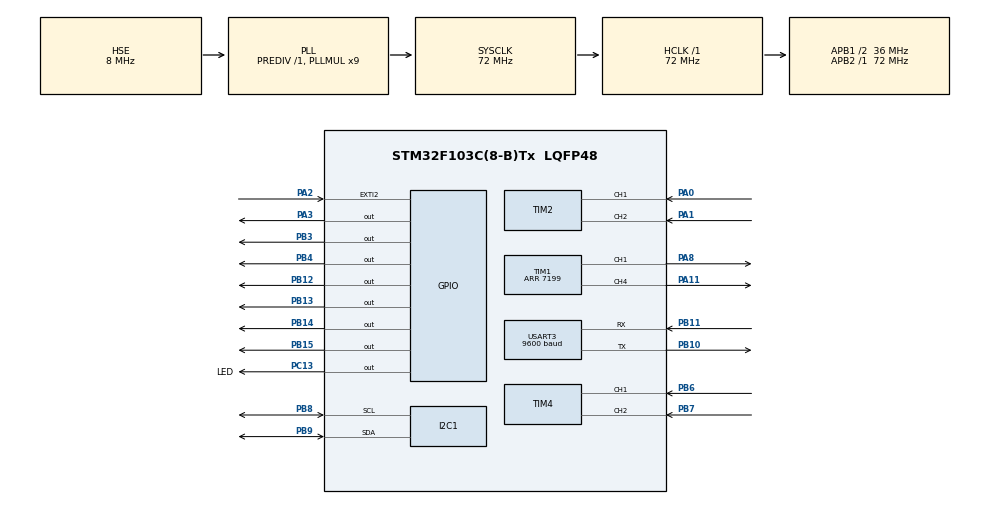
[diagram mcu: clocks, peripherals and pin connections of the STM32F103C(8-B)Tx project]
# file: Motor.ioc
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Mcu.Family=STM32F1
Mcu.Name=STM32F103C(8-B)Tx
Mcu.Package=LQFP48
NVIC.EXTI2_IRQn=true\:0\:0\:false\:false\:true\:true\:true\:true
NVIC.PriorityGroup=NVIC_PRIORITYGROUP_4
NVIC.USART3_IRQn=true\:0\:0\:false\:false\:true\:true\:true\:true
PA0-WKUP.Signal=S_TIM2_CH1_ETR
PA1.Signal=S_TIM2_CH2
PA11.Signal=S_TIM1_CH4
PA13.Mode=Serial_Wire
PA13.Signal=SYS_JTMS-SWDIO
PA14.Mode=Serial_Wire
PA14.Signal=SYS_JTCK-SWCLK
PA2.GPIO_ModeDefaultEXTI=GPIO_MODE_IT_RISING_FALLING
PA2.Signal=GPXTI2
PA3.GPIO_Speed=GPIO_SPEED_FREQ_HIGH
PA3.Signal=GPIO_Output
PA8.Signal=S_TIM1_CH1
PB10.Mode=Asynchronous
PB10.Signal=USART3_TX
PB11.Mode=Asynchronous
PB11.Signal=USART3_RX
PB12.Signal=GPIO_Output
PB13.Signal=GPIO_Output
PB14.Signal=GPIO_Output
PB15.Signal=GPIO_Output
PB3.Signal=GPIO_Output
PB4.Signal=GPIO_Output
PB6.Signal=S_TIM4_CH1
PB7.Signal=S_TIM4_CH2
PB8.Mode=I2C
PB8.Signal=I2C1_SCL
PB9.Mode=I2C
PB9.Signal=I2C1_SDA
PC13-TAMPER-RTC.GPIO_Label=LED
PC13-TAMPER-RTC.Signal=GPIO_Output
PC14-OSC32_IN.Mode=LSE-External-Oscillator
PC14-OSC32_IN.Signal=RCC_OSC32_IN
PC15-OSC32_OUT.Mode=LSE-External-Oscillator
PC15-OSC32_OUT.Signal=RCC_OSC32_OUT
PD0-OSC_IN.Mode=HSE-External-Oscillator
PD0-OSC_IN.Signal=RCC_OSC_IN
PD1-OSC_OUT.Mode=HSE-External-Oscillator
PD1-OSC_OUT.Signal=RCC_OSC_OUT
ProjectManager.HeapSize=0x200
ProjectManager.StackSize=0x400
ProjectManager.TargetToolchain=STM32CubeIDE
RCC.AHBFreq_Value=72000000
RCC.APB1CLKDivider=RCC_HCLK_DIV2
RCC.APB1Freq_Value=36000000
RCC.APB1TimFreq_Value=72000000
RCC.APB2Freq_Value=72000000
RCC.APB2TimFreq_Value=72000000
RCC.HCLKFreq_Value=72000000
RCC.PLLMUL=RCC_PLL_MUL9
RCC.PLLSourceVirtual=RCC_PLLSOURCE_HSE
RCC.SYSCLKFreq_VALUE=72000000
RCC.SYSCLKSource=RCC_SYSCLKSOURCE_PLLCLK
RCC.USBFreq_Value=72000000
SH.S_TIM1_CH1.0=TIM1_CH1,PWM Generation1 CH1
SH.S_TIM1_CH4.0=TIM1_CH4,PWM Generation4 CH4
SH.S_TIM2_CH1_ETR.0=TIM2_CH1,Encoder_Interface
SH.S_TIM2_CH2.0=TIM2_CH2,Encoder_Interface
SH.S_TIM4_CH1.0=TIM4_CH1,Encoder_Interface
SH.S_TIM4_CH2.0=TIM4_CH2,Encoder_Interface
TIM1.Channel-PWM\ Generation1\ CH1=TIM_CHANNEL_1
TIM1.Channel-PWM\ Generation4\ CH4=TIM_CHANNEL_4
TIM1.Period=7199
TIM1.Pulse-PWM\ Generation1\ CH1=7200
TIM1.Pulse-PWM\ Generation4\ CH4=7200
TIM2.EncoderMode=TIM_ENCODERMODE_TI12
TIM3.Prescaler=71
TIM4.EncoderMode=TIM_ENCODERMODE_TI12
USART3.BaudRate=9600
USART3.VirtualMode=VM_ASYNC
VP_TIM3_VS_ClockSourceINT.Mode=Internal
board=custom

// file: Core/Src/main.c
/* USER CODE BEGIN Header */
/**
  ******************************************************************************
  * @file           : main.c
  * @brief          : Main program body
  ******************************************************************************
  * @attention
  *
  * Copyright (c) 2026 STMicroelectronics.
  * All rights reserved.
  *
  * This software is licensed under terms that can be found in the LICENSE file
  * in the root directory of this software component.
  * If no LICENSE file comes with this software, it is provided AS-IS.
  *
  ******************************************************************************
  */
/* USER CODE END Header */
#include "main.h"
#include "i2c.h"
#include "tim.h"
#include "usart.h"
#include "gpio.h"

/* USER CODE BEGIN Includes */
#include "../Hardware/oled.h"
#include "../Hardware/mpu6050.h"
#include "../Hardware/motor.h"
#include "stdio.h"
#include "../Hardware/sr04.h"
/* USER CODE END Includes */

/* USER CODE BEGIN PV */
float pitch,yaw,roll;
uint8_t display_buf[20];
extern float distance;
/* USER CODE END PV */

void SystemClock_Config(void);

int main(void)
{

  /* MCU Configuration--------------------------------------------------------*/

  /* Reset of all peripherals, Initializes the Flash interface and the Systick. */
  HAL_Init();

  /* Configure the system clock */
  SystemClock_Config();

  /* Initialize all configured peripherals */
  MX_GPIO_Init();
  MX_TIM1_Init();
  MX_TIM2_Init();
  MX_TIM4_Init();
  MX_I2C1_Init();
  MX_TIM3_Init();
  MX_USART3_UART_Init();
  /* USER CODE BEGIN 2 */
  OLED_Init();
  OLED_Clear();
  MPU_Init();
  mpu_dmp_init();
  OLED_ShowString(0,0,"Init Success",16);
  HAL_TIM_PWM_Start(&htim1, TIM_CHANNEL_1);
  HAL_TIM_PWM_Start(&htim1, TIM_CHANNEL_4);
  Motor_SetSpeed(1000,1000);
  /* USER CODE END 2 */

  /* Infinite loop */
  /* USER CODE BEGIN WHILE */
  while (1)
  {
	  HAL_Delay(100);
	  mpu_dmp_get_data(&pitch, &roll, &yaw);
/*	  sprintf((char *)display_buf,"pitch:%.2f     ",pitch);
	  OLED_ShowString(0, 2, display_buf,16);
	  sprintf((char *)display_buf,"roll:%.2f     ",roll);
	  OLED_ShowString(0, 4, display_buf,16);
	  sprintf((char *)display_buf,"yaw:%.2f     ",yaw);
	  OLED_ShowString(0, 6, display_buf,16);*/
	  GET_Distance();
	  sprintf((char *)display_buf,"distance:%.2f     ",distance);
	  OLED_ShowString(0, 6, display_buf,12);
    /* USER CODE END WHILE */

  }
}

void SystemClock_Config(void)
{
  RCC_OscInitTypeDef RCC_OscInitStruct = {0};
  RCC_ClkInitTypeDef RCC_ClkInitStruct = {0};

  /** Initializes the RCC Oscillators according to the specified parameters
  * in the RCC_OscInitTypeDef structure.
  */
  RCC_OscInitStruct.OscillatorType = RCC_OSCILLATORTYPE_HSE;
  RCC_OscInitStruct.HSEState = RCC_HSE_ON;
  RCC_OscInitStruct.HSEPredivValue = RCC_HSE_PREDIV_DIV1;
  RCC_OscInitStruct.HSIState = RCC_HSI_ON;
  RCC_OscInitStruct.PLL.PLLState = RCC_PLL_ON;
  RCC_OscInitStruct.PLL.PLLSource = RCC_PLLSOURCE_HSE;
  RCC_OscInitStruct.PLL.PLLMUL = RCC_PLL_MUL9;
  if (HAL_RCC_OscConfig(&RCC_OscInitStruct) != HAL_OK)
  {
    Error_Handler();
  }

  /** Initializes the CPU, AHB and APB buses clocks
  */
  RCC_ClkInitStruct.ClockType = RCC_CLOCKTYPE_HCLK|RCC_CLOCKTYPE_SYSCLK
                              |RCC_CLOCKTYPE_PCLK1|RCC_CLOCKTYPE_PCLK2;
  RCC_ClkInitStruct.SYSCLKSource = RCC_SYSCLKSOURCE_PLLCLK;
  RCC_ClkInitStruct.AHBCLKDivider = RCC_SYSCLK_DIV1;
  RCC_ClkInitStruct.APB1CLKDivider = RCC_HCLK_DIV2;
  RCC_ClkInitStruct.APB2CLKDivider = RCC_HCLK_DIV1;

  if (HAL_RCC_ClockConfig(&RCC_ClkInitStruct, FLASH_LATENCY_2) != HAL_OK)
  {
    Error_Handler();
  }
}

void Error_Handler(void)
{
  __disable_irq();
  while (1)
  {
  }
}
